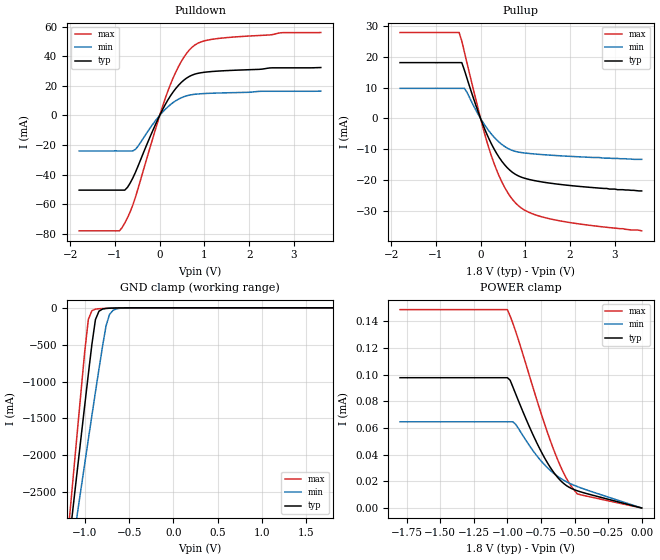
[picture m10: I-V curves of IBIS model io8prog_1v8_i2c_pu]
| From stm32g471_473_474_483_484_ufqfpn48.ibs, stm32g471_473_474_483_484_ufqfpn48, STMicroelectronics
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|   Model io8prog_1v8_i2c_pu
[Model]  io8prog_1v8_i2c_pu
Model_type I/O
Polarity   Non-Inverting
Enable   Active-Low
Vinl =   0.540000V
Vinh =   1.260000V
Vmeas =  0.900000V
Cref =   100.000000nF
Rref =   1.000000k
Vref =   1.800000V
C_comp   2.197300pF   2.162700pF   2.264100pF
[Temperature Range]   25.000000   0.125000k   -40.000000
[Pullup Reference]   1.800000V   1.600000V   2.000000V
[Pulldown Reference]   0.0V   0.0V   0.0V
[POWER Clamp Reference]   1.800000V   1.600000V   2.000000V
[GND Clamp Reference]   0.0V   0.0V   0.0V
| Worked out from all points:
|   slope of the pulldown table from 0 to 0.27 V, typ, clamps not added: 18.6 ohm
|   slope of the pullup table from 0 to 0.27 V, typ, clamps not added: 30.1 ohm
|   GND clamp passes 1 mA (typ) near -0.58 V on its own axis
[Pulldown]
|Voltage   I(typ)   I(min)   I(max)
-1.8V     -50.56mA   -24.04mA   -78.12mA
-900mV    -50.56mA   -24.04mA   -78.12mA
-840mV    -50.56mA   -24.04mA   -75.89mA
-720mV    -48.68mA   -24.04mA   -69.28mA
-540mV    -38.37mA   -22.9mA    -55.15mA
-60mV     -3.89mA    -2.235mA   -5.966mA
240mV     13.2mA     7.298mA    20.96mA
480mV     22.23mA    11.89mA    36.36mA
720mV     27.21mA    14.03mA    46.04mA
960mV     29.03mA    14.72mA    50.09mA
1.32V     30.01mA    15.15mA    52.08mA
3.6V      32.38mA    16.41mA    56.09mA
[Pullup]
|Voltage   I(typ)   I(min)   I(max)
-1.8V     18.05mA    9.741mA    27.78mA
-480mV    18.05mA    9.741mA    27.78mA
-420mV    18.05mA    9.741mA    25.03mA
-360mV    15.57mA    9.741mA    21.38mA
60mV      -2.268mA   -1.401mA   -3.341mA
240mV     -8.143mA   -5.004mA   -12mA
360mV     -11.31mA   -6.914mA   -16.72mA
540mV     -15mA      -9.056mA   -22.31mA
840mV     -18.52mA   -10.83mA   -28.11mA
1.14V     -19.87mA   -11.38mA   -30.67mA
1.62V     -21.02mA   -11.91mA   -32.63mA
3.6V      -23.4mA    -13.2mA    -36.3mA
[GND_clamp]
|Voltage   I(typ)   I(min)   I(max)
-1.8V     -9.861A    -8.8A      -9.626A
-1.16V    -3.004A    -3.417A    -2.68A
-1.12V    -2.579A    -3.088A    -2.15A
-1.08V    -2.155A    -2.76A     -1.623A
-1V       -1.315A    -2.108A    -586.3mA
-960mV    -900.6mA   -1.784A    -158.3mA
-920mV    -496.8mA   -1.462A    -39.39mA
-880mV    -160.5mA   -1.144A    -17.82mA
-840mV    -45.92mA   -830.3mA   -12.52mA
-760mV    -8.262mA   -243mA     -7.547mA
-680mV    -3.389mA   -33.05mA   -3.833mA
1.8V      0A         0A         0A
[POWER_clamp]
|Voltage   I(typ)   I(min)   I(max)
-1.8V     97.61uA    64.61uA    148.6uA
-1V       97.61uA    64.61uA    148.6uA
-980mV    95.77uA    64.61uA    143.9uA
-960mV    90.85uA    64.61uA    138.6uA
-940mV    85.82uA    62.87uA    132.7uA
-820mV    57.18uA    44.44uA    93.74uA
-720mV    36.98uA    32uA       61.96uA
-620mV    22.23uA    23.29uA    34.8uA
-560mV    16.76uA    19.67uA    22.06uA
-520mV    14.49uA    17.74uA    15.63uA
-480mV    12.91uA    16.08uA    10.62uA
0V        0A         0A         0A
[Ramp]
| variable   typ   min   max
dV/dt_r  0.56083/6.00000u   0.33728/6.00000u   0.77870/6.00000u
dV/dt_f  0.73706/6.00000u   0.43573/6.00000u   0.95862/6.00000u
R_load = 50.000000
|End [Model] io8prog_1v8_i2c_pu
